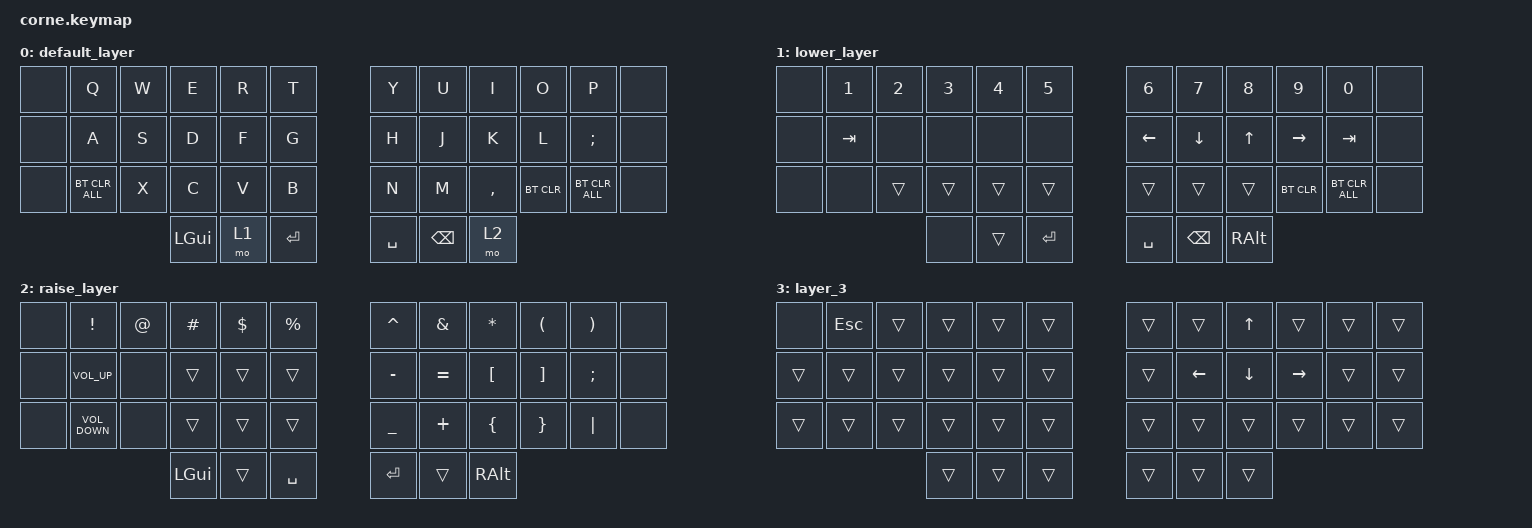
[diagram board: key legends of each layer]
/*
 * Copyright (c) 2020 The ZMK Contributors
 *
 * SPDX-License-Identifier: MIT
 */

#include <behaviors.dtsi>
#include <dt-bindings/zmk/bt.h>
#include <dt-bindings/zmk/keys.h>

/ {
    combos {
        compatible = "zmk,combos";

        esecape {
            bindings = <&kp ESC>;
            key-positions = <1 10>;
        };

        to_3rd_layer {
            bindings = <&mo 3>;
            key-positions = <37 40>;
        };
    };

    keymap {
        compatible = "zmk,keymap";

        default_layer {
            // -----------------------------------------------------------------------------------------
            // |  TAB |  Q  |  W  |  E  |  R  |  T  |   |  Y  |  U   |  I  |  O  |  P  | BKSP |
            // | CTRL |  A  |  S  |  D  |  F  |  G  |   |  H  |  J   |  K  |  L  |  ;  |  '   |
            // | SHFT |  Z  |  X  |  C  |  V  |  B  |   |  N  |  M   |  ,  |  .  |  /  | ESC  |
            //                    | GUI | LWR | SPC |   | ENT | RSE  | ALT |

            bindings = <
&none  &kp Q           &kp W  &kp E     &kp R  &kp T        &kp Y      &kp U          &kp I      &kp O       &kp P           &none
&none  &kp A           &kp S  &kp D     &kp F  &kp G        &kp H      &kp J          &kp K      &kp L       &kp SEMI        &none
&none  &bt BT_CLR_ALL  &kp X  &kp C     &kp V  &kp B        &kp N      &kp M          &kp COMMA  &bt BT_CLR  &bt BT_CLR_ALL  &none
                              &kp LGUI  &mo 1  &kp ENTER    &kp SPACE  &kp BACKSPACE  &mo 2
            >;
        };

        lower_layer {
            // -----------------------------------------------------------------------------------------
            // |  TAB |  1  |  2  |  3  |  4  |  5  |   |  6  |  7  |  8  |  9  |  0  | BKSP |
            // | BTCLR| BT1 | BT2 | BT3 | BT4 | BT5 |   | LFT | DWN |  UP | RGT |     |      |
            // | SHFT |     |     |     |     |     |   |     |     |     |     |     |      |
            //                    | GUI |     | SPC |   | ENT |     | ALT |

            bindings = <
&none  &kp N1   &kp N2  &kp N3  &kp N4  &kp N5       &kp N6     &kp N7         &kp N8    &kp N9      &kp N0          &none
&none  &kp TAB  &none   &none   &none   &none        &kp LEFT   &kp DOWN       &kp UP    &kp RIGHT   &kp TAB         &none
&none  &none    &trans  &trans  &trans  &trans       &trans     &trans         &trans    &bt BT_CLR  &bt BT_CLR_ALL  &none
                        &none   &trans  &kp ENTER    &kp SPACE  &kp BACKSPACE  &kp RALT
            >;
        };

        raise_layer {
            // -----------------------------------------------------------------------------------------
            // |  TAB |  !  |  @  |  #  |  $  |  %  |   |  ^  |  &  |  *  |  (  |  )  | BKSP |
            // | CTRL |     |     |     |     |     |   |  -  |  =  |  [  |  ]  |  \  |  `   |
            // | SHFT |     |     |     |     |     |   |  _  |  +  |  {  |  }  | "|" |  ~   |
            //                    | GUI |     | SPC |   | ENT |     | ALT |

            bindings = <
&none  &kp EXCL           &kp AT  &kp HASH  &kp DLLR  &kp PRCNT    &kp CARET  &kp AMPS   &kp ASTRK  &kp LPAR  &kp RPAR  &none
&none  &kp C_VOL_UP       &none   &trans    &trans    &trans       &kp MINUS  &kp EQUAL  &kp LBKT   &kp RBKT  &kp SEMI  &none
&none  &kp C_VOLUME_DOWN  &none   &trans    &trans    &trans       &kp UNDER  &kp PLUS   &kp LBRC   &kp RBRC  &kp PIPE  &none
                                  &kp LGUI  &trans    &kp SPACE    &kp RET    &trans     &kp RALT
            >;
        };

        layer_3 {
            bindings = <
&none   &kp ESC  &trans  &trans  &trans  &trans    &trans  &trans          &kp UP_ARROW    &trans           &trans  &trans
&trans  &trans   &trans  &trans  &trans  &trans    &trans  &kp LEFT_ARROW  &kp DOWN_ARROW  &kp RIGHT_ARROW  &trans  &trans
&trans  &trans   &trans  &trans  &trans  &trans    &trans  &trans          &trans          &trans           &trans  &trans
                         &trans  &trans  &trans    &trans  &trans          &trans
            >;
        };
    };
};
